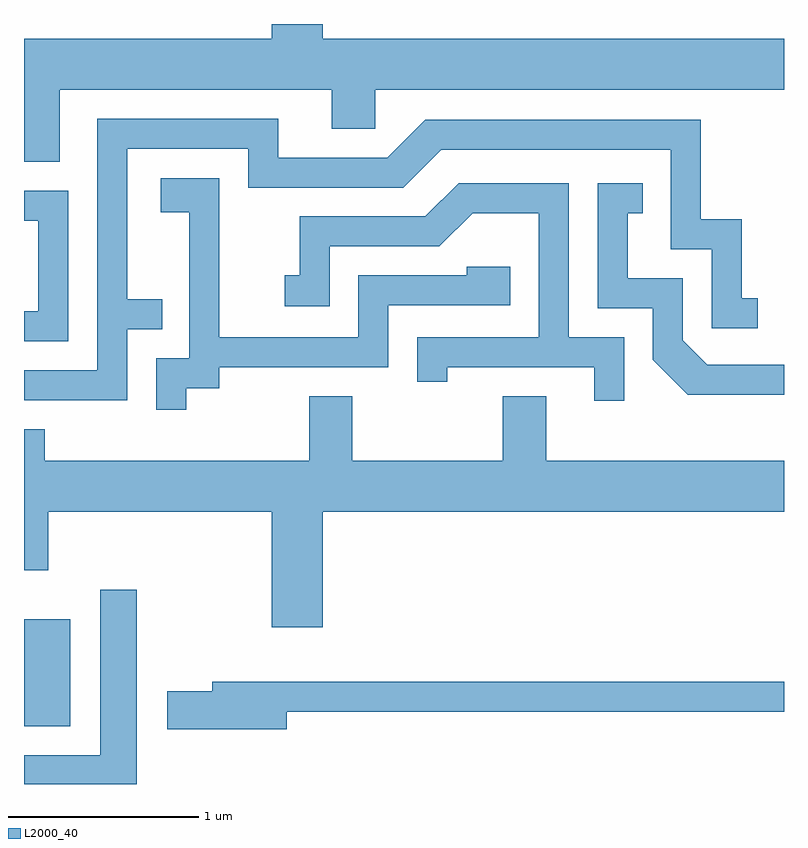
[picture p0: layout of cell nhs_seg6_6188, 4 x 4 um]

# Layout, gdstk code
import gdstk
lib = gdstk.Library(unit=1e-6, precision=1e-09)
def R(c, l, rs):  # rectangles x0, y0, x1, y1
    for r in rs: c.add(gdstk.rectangle(r[:2], r[2:], *l))
def P(c, l, *ps):  # polygons
    for p in ps: c.add(gdstk.Polygon(p, *l))
L2000_40 = (2000, 40)

nhs_seg6_6188 = lib.new_cell('nhs_seg6_6188')
R(nhs_seg6_6188, L2000_40, [(373.611,1544.466,373.854,1545.029)])
P(nhs_seg6_6188, L2000_40, [(373.799,1547.816),(375.231,1547.816),(375.231,1547.611),(375.459,1547.611),(375.459,1547.816),(377.611,1547.816),(377.611,1548.084),(375.184,1548.084),(375.184,1548.162),(374.916,1548.162),(374.916,1548.084),(373.611,1548.084),(373.611,1547.436),(373.799,1547.436)],
  [(374.154,1546.556),(374.338,1546.556),(374.338,1546.714),(374.154,1546.714),(374.154,1547.506),(374.791,1547.506),(374.791,1547.301),(375.607,1547.301),(375.807,1547.501),(377.016,1547.501),(377.016,1546.976),(377.231,1546.976),(377.231,1546.561),(377.473,1546.561),(377.473,1546.719),(377.389,1546.719),(377.389,1547.134),(377.174,1547.134),(377.174,1547.659),(375.724,1547.659),(375.524,1547.459),(374.949,1547.459),(374.949,1547.664),(373.996,1547.664),(373.996,1546.339),(373.611,1546.339),(373.611,1546.181),(374.154,1546.181)],
  [(374.464,1546.246),(374.639,1546.246),(374.639,1546.356),(375.529,1546.356),(375.529,1546.681),(376.169,1546.681),(376.169,1546.884),(375.941,1546.884),(375.941,1546.839),(375.371,1546.839),(375.371,1546.514),(374.639,1546.514),(374.639,1547.349),(374.331,1547.349),(374.331,1547.171),(374.481,1547.171),(374.481,1546.404),(374.306,1546.404),(374.306,1546.133),(374.464,1546.133)],
  [(377.611,1546.369),(377.207,1546.369),(377.079,1546.497),(377.079,1546.824),(376.789,1546.824),(376.789,1547.166),(376.868,1547.166),(376.868,1547.324),(376.631,1547.324),(376.631,1546.666),(376.921,1546.666),(376.921,1546.394),(377.104,1546.211),(377.611,1546.211)],
  [(376.769,1546.514),(376.479,1546.514),(376.479,1547.324),(375.899,1547.324),(375.724,1547.149),(375.061,1547.149),(375.061,1546.839),(374.983,1546.839),(374.983,1546.676),(375.219,1546.676),(375.219,1546.991),(375.797,1546.991),(375.972,1547.166),(376.321,1547.166),(376.321,1546.514),(375.681,1546.514),(375.681,1546.278),(375.839,1546.278),(375.839,1546.356),(376.611,1546.356),(376.611,1546.178),(376.769,1546.178)],
  [(373.844,1547.284),(373.611,1547.284),(373.611,1547.126),(373.686,1547.126),(373.686,1546.649),(373.611,1546.649),(373.611,1546.491),(373.844,1546.491)],
  [(373.719,1546.029),(373.611,1546.029),(373.611,1545.286),(373.739,1545.286),(373.739,1545.596),(374.916,1545.596),(374.916,1544.986),(375.184,1544.986),(375.184,1545.596),(377.611,1545.596),(377.611,1545.864),(376.359,1545.864),(376.359,1546.204),(376.131,1546.204),(376.131,1545.864),(375.339,1545.864),(375.339,1546.204),(375.111,1546.204),(375.111,1545.864),(373.719,1545.864)],
  [(374.204,1545.184),(374.011,1545.184),(374.011,1544.314),(373.611,1544.314),(373.611,1544.162),(374.204,1544.162)],
  [(374.994,1544.541),(377.611,1544.541),(377.611,1544.699),(374.601,1544.699),(374.601,1544.649),(374.366,1544.649),(374.366,1544.451),(374.994,1544.451)])

lib.write_gds('nhs_seg6_6188.gds')
